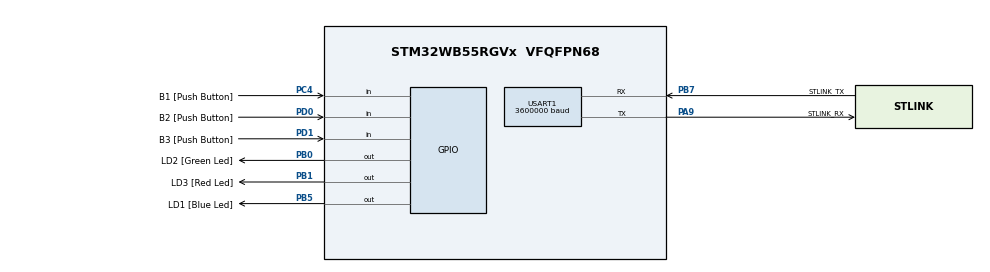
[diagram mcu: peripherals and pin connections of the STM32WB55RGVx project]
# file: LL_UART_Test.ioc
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Dma.Request0=USART1_TX
Dma.USART1_TX.0.Direction=DMA_MEMORY_TO_PERIPH
Dma.USART1_TX.0.EventEnable=DISABLE
Dma.USART1_TX.0.Instance=DMA1_Channel1
Dma.USART1_TX.0.MemDataAlignment=DMA_MDATAALIGN_BYTE
Dma.USART1_TX.0.MemInc=DMA_MINC_ENABLE
Dma.USART1_TX.0.Mode=DMA_NORMAL
Dma.USART1_TX.0.PeriphDataAlignment=DMA_PDATAALIGN_BYTE
Dma.USART1_TX.0.PeriphInc=DMA_PINC_DISABLE
Dma.USART1_TX.0.Polarity=HAL_DMAMUX_REQ_GEN_RISING
Dma.USART1_TX.0.Priority=DMA_PRIORITY_HIGH
Dma.USART1_TX.0.RequestNumber=1
Dma.USART1_TX.0.SignalID=NONE
Dma.USART1_TX.0.SyncEnable=DISABLE
Dma.USART1_TX.0.SyncPolarity=HAL_DMAMUX_SYNC_NO_EVENT
Dma.USART1_TX.0.SyncRequestNumber=1
Dma.USART1_TX.0.SyncSignalID=NONE
Mcu.Family=STM32WB
Mcu.Name=STM32WB55RGVx
Mcu.Package=VFQFPN68
NVIC.DMA1_Channel1_IRQn=true\:0\:0\:false\:false\:true\:false\:true\:true
NVIC.PriorityGroup=NVIC_PRIORITYGROUP_4
OSC_IN.Mode=HSE-External-Oscillator
OSC_IN.Signal=RCC_OSC_IN
OSC_OUT.Mode=HSE-External-Oscillator
OSC_OUT.Signal=RCC_OSC_OUT
PA11.Signal=USB_DM
PA12.Signal=USB_DP
PA13.GPIO_Label=JTMS
PA13.Mode=Trace_Asynchronous_SW
PA13.Signal=SYS_JTMS-SWDIO
PA14.GPIO_Label=JTCK
PA14.Mode=Trace_Asynchronous_SW
PA14.Signal=SYS_JTCK-SWCLK
PA9.GPIO_Label=STLINK_RX
PA9.GPIO_PuPd=GPIO_PULLUP
PA9.GPIO_Speed=GPIO_SPEED_FREQ_HIGH
PA9.Mode=Asynchronous
PA9.Signal=USART1_TX
PB0.GPIO_Label=LD2 [Green Led]
PB0.Signal=GPIO_Output
PB1.GPIO_Label=LD3 [Red Led]
PB1.Signal=GPIO_Output
PB3.GPIO_Label=JTDO
PB3.Mode=Trace_Asynchronous_SW
PB3.Signal=SYS_JTDO-SWO
PB5.GPIO_Label=LD1 [Blue Led]
PB5.Signal=GPIO_Output
PB7.GPIO_Label=STLINK_TX
PB7.GPIO_PuPd=GPIO_PULLUP
PB7.Mode=Asynchronous
PB7.Signal=USART1_RX
PC13.Mode=SYS_WakeUp1
PC13.Signal=SYS_WKUP2
PC14-OSC32_IN.Mode=LSE-External-Oscillator
PC14-OSC32_IN.Signal=RCC_OSC32_IN
PC15-OSC32_OUT.Mode=LSE-External-Oscillator
PC15-OSC32_OUT.Signal=RCC_OSC32_OUT
PC4.GPIO_Label=B1 [Push Button]
PC4.Signal=GPIO_Input
PD0.GPIO_Label=B2 [Push Button]
PD0.Signal=GPIO_Input
PD1.GPIO_Label=B3 [Push Button]
PD1.Signal=GPIO_Input
ProjectManager.HeapSize=0x200
ProjectManager.StackSize=0x400
ProjectManager.TargetToolchain=STM32CubeIDE
RCC.ADCFreq_Value=48000000
RCC.AHB2CLKDivider=RCC_SYSCLK_DIV2
RCC.AHBFreq_Value=64000000
RCC.APB1Freq_Value=64000000
RCC.APB1TimFreq_Value=64000000
RCC.APB2Freq_Value=64000000
RCC.APB2TimFreq_Value=64000000
RCC.APB3Freq_Value=16000000
RCC.Cortex2_Div=SYSTICK_CLKSOURCE_HCLK_DIV8
RCC.CortexFreq_Value=64000000
RCC.HCLKFreq_Value=64000000
RCC.HSE_VALUE=32000000
RCC.HSI48_VALUE=48000000
RCC.HSI_VALUE=16000000
RCC.PLLN=32
RCC.PLLSAI1N=24
RCC.SMPSCLockSelectionVirtual=RCC_SMPSCLKSOURCE_HSI
RCC.SMPSCLockSelectionVirtualVirtual=RCC_SMPSCLKSOURCE_HSI
RCC.SMPSDivider=1
RCC.SYSCLKFreq_VALUE=64000000
RCC.SYSCLKSource=RCC_SYSCLKSOURCE_PLLCLK
RCC.USBFreq_Value=48000000
RCC.VCOOutputFreq_Value=128000000
USART1.BaudRate=3600000
USART1.FIFOMode=FIFOMODE_ENABLE
USART1.TxPinLevelInvertParam=ADVFEATURE_TXINV_ENABLE
USART1.VirtualMode-Asynchronous=VM_ASYNC
USART1.WordLength=WORDLENGTH_7B
board=P-NUCLEO-WB55-NUCLEO

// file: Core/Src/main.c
/* USER CODE BEGIN Header */
/**
  ******************************************************************************
  * @file           : main.c
  * @brief          : Main program body
  ******************************************************************************
  * @attention
  *
  * Copyright (c) 2024 STMicroelectronics.
  * All rights reserved.
  *
  * This software is licensed under terms that can be found in the LICENSE file
  * in the root directory of this software component.
  * If no LICENSE file comes with this software, it is provided AS-IS.
  *
  ******************************************************************************
  */
/* USER CODE END Header */
#include "main.h"
#include "dma.h"
#include "usart.h"
#include "gpio.h"

/* USER CODE BEGIN Includes */
#include "ws2812.h"
/* USER CODE END Includes */

/* USER CODE BEGIN PV */
volatile uint32_t ms_Ticks = 0;
uint32_t new_msTick, time;
uint16_t step = 1;

uint32_t GetTick(void);
void Tick_add(void);
/* USER CODE END PV */

void SystemClock_Config(void);
void PeriphCommonClock_Config(void);

int main(void)
{

  /* MCU Configuration--------------------------------------------------------*/

  /* Reset of all peripherals, Initializes the Flash interface and the Systick. */

  /* System interrupt init*/
  NVIC_SetPriorityGrouping(NVIC_PRIORITYGROUP_4);

  /* Configure the system clock */
  SystemClock_Config();

/* Configure the peripherals common clocks */
  PeriphCommonClock_Config();

  /* Initialize all configured peripherals */
  MX_GPIO_Init();
  MX_DMA_Init();
  MX_USART1_UART_Init();
  /* USER CODE BEGIN 2 */

  NVIC_EnableIRQ(DMA1_Channel1_IRQn);
  LL_DMA_EnableIT_TC(DMA1, LL_DMA_CHANNEL_1);
  LL_DMA_EnableIT_HT(DMA1, LL_DMA_CHANNEL_1);

  LL_SYSTICK_EnableIT();

  time = 30000;

  /* USER CODE END 2 */

  /* Infinite loop */
  while (1)
  	  {

    /* USER CODE BEGIN 3 */

	  	  if((GetTick() - new_msTick) > time)
	  	  {
	  		  step++;
	  		  new_msTick = GetTick();
	  		  if(step > 8) step = 1;
	  	  }

	  switch (step)
	  	  {
			case 1:
				color_change (100);
				break;
			case 2:
				WS2811_flash_color(0, 300, 20);
				break;
			case 3:
				WS2811_flash(260, 0x4, 0, 150);
				WS2811_flash(120, 0x4, 151, 300);
				break;
			case 4:
				WS2811_set_color_HSV(120, 0xff, 0xf, 0, 300);
				break;
			case 5:
				WS2811_flash(345, 0x4, 0, 150);
				WS2811_flash(60, 0x4, 151, 300);
				break;
			case 6:
				WS2811_snake();
				break;
			case 7:
				WS2811_set_color_HSV(240, 0xff, 0xf, 0, 300);
				break;
			case 8:
				WS2811_rainbow_flow();
				break;

			default:
				break;
	  	  }

	  Refresch_SysTick(20);

	  }

  /* USER CODE END 3 */
}

void SystemClock_Config(void)
{
  LL_FLASH_SetLatency(LL_FLASH_LATENCY_3);
  while(LL_FLASH_GetLatency() != LL_FLASH_LATENCY_3)
  {
  }

  /* HSE configuration and activation */
  LL_RCC_HSE_Enable();
  while(LL_RCC_HSE_IsReady() != 1)
  {
  }

  /* HSI configuration and activation */
  LL_RCC_HSI_Enable();
  while(LL_RCC_HSI_IsReady() != 1)
  {
  }

  /* MSI configuration and activation */
  LL_RCC_MSI_Enable();
  while(LL_RCC_MSI_IsReady() != 1)
  {
  }

  /* Main PLL configuration and activation */
  LL_RCC_PLL_ConfigDomain_SYS(LL_RCC_PLLSOURCE_MSI, LL_RCC_PLLM_DIV_1, 32, LL_RCC_PLLR_DIV_2);
  LL_RCC_PLL_Enable();
  LL_RCC_PLL_EnableDomain_SYS();
  while(LL_RCC_PLL_IsReady() != 1)
  {
  }

  /* Sysclk activation on the main PLL */
  /* Set CPU1 prescaler*/
  LL_RCC_SetAHBPrescaler(LL_RCC_SYSCLK_DIV_1);

  /* Set CPU2 prescaler*/
  LL_C2_RCC_SetAHBPrescaler(LL_RCC_SYSCLK_DIV_2);

  LL_RCC_SetSysClkSource(LL_RCC_SYS_CLKSOURCE_PLL);
  while(LL_RCC_GetSysClkSource() != LL_RCC_SYS_CLKSOURCE_STATUS_PLL)
  {
  }

  /* Set AHB SHARED prescaler*/
  LL_RCC_SetAHB4Prescaler(LL_RCC_SYSCLK_DIV_1);

  /* Set APB1 prescaler*/
  LL_RCC_SetAPB1Prescaler(LL_RCC_APB1_DIV_1);

  /* Set APB2 prescaler*/
  LL_RCC_SetAPB2Prescaler(LL_RCC_APB2_DIV_1);

  LL_Init1msTick(64000000);

  /* Update CMSIS variable (which can be updated also through SystemCoreClockUpdate function) */
  LL_SetSystemCoreClock(64000000);
}

void PeriphCommonClock_Config(void)
{
  LL_RCC_SetSMPSClockSource(LL_RCC_SMPS_CLKSOURCE_HSI);
  LL_RCC_SetSMPSPrescaler(LL_RCC_SMPS_DIV_0);
  LL_RCC_SetRFWKPClockSource(LL_RCC_RFWKP_CLKSOURCE_NONE);
}

/* USER CODE BEGIN 4 */

uint32_t GetTick(void)
{
	return ms_Ticks;
}

void Tick_add(void)
{
	ms_Ticks++;
}

void Refresch_SysTick(uint16_t time)
{
	static uint32_t new_tick;

	if((GetTick() - new_tick) >= time)
	{
		ws2811_refresh();
		new_tick = GetTick();
	}
}
/* USER CODE END 4 */

void Error_Handler(void)
{
  __disable_irq();
  while (1)
  {
  }
}
